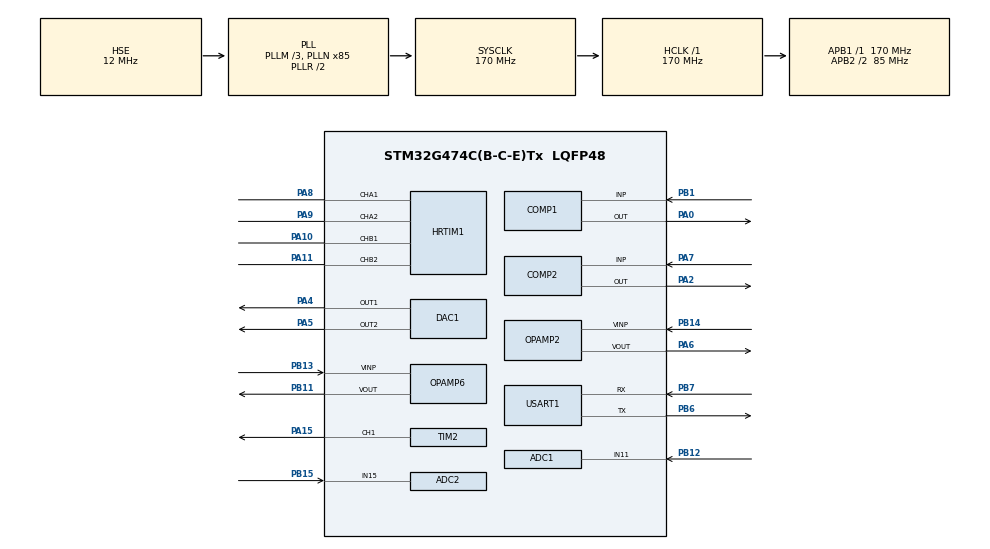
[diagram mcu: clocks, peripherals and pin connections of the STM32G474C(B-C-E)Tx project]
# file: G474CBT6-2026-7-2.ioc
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ADC1.Channel-4\#ChannelRegularConversion=ADC_CHANNEL_11
ADC1.Channel-5\#ChannelRegularConversion=ADC_CHANNEL_14
ADC1.DMAAccessModeView=ENABLE
ADC1.DMAContinuousRequests=ENABLE
ADC1.DiscontinuousConvMode=ENABLE
ADC1.ExternalTrigConv=ADC_EXTERNALTRIG_HRTIM_TRG1
ADC1.ExternalTrigConvEdge=ADC_EXTERNALTRIGCONVEDGE_RISING
ADC1.Mode=ADC_DUALMODE_REGSIMULT
ADC1.NbrOfConversion=2
ADC1.NbrOfConversionFlag=1
ADC1.NbrOfDiscConversion=2
ADC1.OffsetNumber-4\#ChannelRegularConversion=ADC_OFFSET_NONE
ADC1.OffsetNumber-5\#ChannelRegularConversion=ADC_OFFSET_NONE
ADC1.Overrun=ADC_OVR_DATA_OVERWRITTEN
ADC1.Rank-4\#ChannelRegularConversion=1
ADC1.Rank-5\#ChannelRegularConversion=2
ADC1.SamplingTime-4\#ChannelRegularConversion=ADC_SAMPLETIME_12CYCLES_5
ADC1.SamplingTime-5\#ChannelRegularConversion=ADC_SAMPLETIME_12CYCLES_5
ADC1.master=1
ADC2.Channel-5\#ChannelRegularConversion=ADC_CHANNEL_15
ADC2.Channel-6\#ChannelRegularConversion=ADC_CHANNEL_3
ADC2.DMAAccessModeView=ENABLE
ADC2.DiscontinuousConvMode=ENABLE
ADC2.Mode=ADC_DUALMODE_REGSIMULT
ADC2.NbrOfConversion=2
ADC2.NbrOfConversionFlag=1
ADC2.NbrOfDiscConversion=3
ADC2.OffsetNumber-5\#ChannelRegularConversion=ADC_OFFSET_NONE
ADC2.OffsetNumber-6\#ChannelRegularConversion=ADC_OFFSET_NONE
ADC2.Overrun=ADC_OVR_DATA_OVERWRITTEN
ADC2.Rank-5\#ChannelRegularConversion=1
ADC2.Rank-6\#ChannelRegularConversion=2
ADC2.SamplingTime-5\#ChannelRegularConversion=ADC_SAMPLETIME_12CYCLES_5
ADC2.SamplingTime-6\#ChannelRegularConversion=ADC_SAMPLETIME_12CYCLES_5
DAC1.DAC_Channel-DAC_OUT2_ExtAndInt=DAC_CHANNEL_2
DAC1.DAC_DMADoubleDataMode-DAC_OUT1_ExtAndInt=ENABLE
DAC1.DAC_DMADoubleDataMode-DAC_OUT2_ExtAndInt=ENABLE
DAC1.DAC_HighFrequency_OUT1-DAC_OUT1_ExtAndInt=DAC_HIGH_FREQUENCY_INTERFACE_MODE_ABOVE_160MHZ
DAC1.DAC_SignedFormat-DAC_OUT1_ExtAndInt=DISABLE
DAC1.DAC_SignedFormat-DAC_OUT2_ExtAndInt=ENABLE
DAC1.DAC_Trigger2_OUT1-DAC_OUT1_ExtAndInt=DAC_TRIGGER_HRTIM_STEP_TRG1
DAC1.DAC_Trigger2_OUT2-DAC_OUT2_ExtAndInt=DAC_TRIGGER_HRTIM_STEP_TRG2
DAC1.DAC_Trigger_OUT1-DAC_OUT1_ExtAndInt=DAC_TRIGGER_HRTIM_RST_TRG1
DAC1.DAC_Trigger_OUT2-DAC_OUT2_ExtAndInt=DAC_TRIGGER_HRTIM_RST_TRG2
DAC1.DAC_UserTrimming-DAC_OUT1_ExtAndInt=DAC_TRIMMING_FACTORY
DAC1.ResetDataSawtooth-DAC_OUT1_ExtAndInt=3000
DAC1.ResetDataSawtooth2-DAC_OUT2_ExtAndInt=3000
DAC1.StepDataSawtooth-DAC_OUT1_ExtAndInt=1000
DAC1.StepDataSawtooth2-DAC_OUT2_ExtAndInt=1000
DAC1.WaveGeneration_OUT1-DAC_OUT1_ExtAndInt=SawtoothWaveGenerate
DAC1.WaveGeneration_OUT2-DAC_OUT2_ExtAndInt=SawtoothWaveGenerate
Dma.ADC1.2.Direction=DMA_PERIPH_TO_MEMORY
Dma.ADC1.2.EventEnable=DISABLE
Dma.ADC1.2.Instance=DMA1_Channel1
Dma.ADC1.2.MemDataAlignment=DMA_MDATAALIGN_WORD
Dma.ADC1.2.MemInc=DMA_MINC_ENABLE
Dma.ADC1.2.Mode=DMA_CIRCULAR
Dma.ADC1.2.PeriphDataAlignment=DMA_PDATAALIGN_WORD
Dma.ADC1.2.PeriphInc=DMA_PINC_DISABLE
Dma.ADC1.2.Polarity=HAL_DMAMUX_REQ_GEN_RISING
Dma.ADC1.2.Priority=DMA_PRIORITY_LOW
Dma.ADC1.2.RequestNumber=1
Dma.ADC1.2.SignalID=NONE
Dma.ADC1.2.SyncEnable=DISABLE
Dma.ADC1.2.SyncPolarity=HAL_DMAMUX_SYNC_NO_EVENT
Dma.ADC1.2.SyncRequestNumber=1
Dma.ADC1.2.SyncSignalID=NONE
Dma.Request0=USART1_TX
Dma.Request1=TIM3_UP
Dma.Request2=ADC1
Dma.Request3=TIM2_UP
Dma.TIM2_UP.3.Direction=DMA_PERIPH_TO_MEMORY
Dma.TIM2_UP.3.EventEnable=DISABLE
Dma.TIM2_UP.3.Instance=DMA1_Channel3
Dma.TIM2_UP.3.MemDataAlignment=DMA_MDATAALIGN_HALFWORD
Dma.TIM2_UP.3.MemInc=DMA_MINC_ENABLE
Dma.TIM2_UP.3.Mode=DMA_CIRCULAR
Dma.TIM2_UP.3.PeriphDataAlignment=DMA_PDATAALIGN_HALFWORD
Dma.TIM2_UP.3.PeriphInc=DMA_PINC_DISABLE
Dma.TIM2_UP.3.Polarity=HAL_DMAMUX_REQ_GEN_RISING
Dma.TIM2_UP.3.Priority=DMA_PRIORITY_LOW
Dma.TIM2_UP.3.RequestNumber=1
Dma.TIM2_UP.3.SignalID=NONE
Dma.TIM2_UP.3.SyncEnable=DISABLE
Dma.TIM2_UP.3.SyncPolarity=HAL_DMAMUX_SYNC_NO_EVENT
Dma.TIM2_UP.3.SyncRequestNumber=1
Dma.TIM2_UP.3.SyncSignalID=NONE
Dma.TIM3_UP.1.Direction=DMA_MEMORY_TO_PERIPH
Dma.TIM3_UP.1.EventEnable=DISABLE
Dma.TIM3_UP.1.Instance=DMA1_Channel4
Dma.TIM3_UP.1.MemDataAlignment=DMA_MDATAALIGN_HALFWORD
Dma.TIM3_UP.1.MemInc=DMA_MINC_ENABLE
Dma.TIM3_UP.1.Mode=DMA_CIRCULAR
Dma.TIM3_UP.1.PeriphDataAlignment=DMA_PDATAALIGN_HALFWORD
Dma.TIM3_UP.1.PeriphInc=DMA_PINC_DISABLE
Dma.TIM3_UP.1.Polarity=HAL_DMAMUX_REQ_GEN_RISING
Dma.TIM3_UP.1.Priority=DMA_PRIORITY_LOW
Dma.TIM3_UP.1.RequestNumber=1
Dma.TIM3_UP.1.SignalID=NONE
Dma.TIM3_UP.1.SyncEnable=DISABLE
Dma.TIM3_UP.1.SyncPolarity=HAL_DMAMUX_SYNC_NO_EVENT
Dma.TIM3_UP.1.SyncRequestNumber=1
Dma.TIM3_UP.1.SyncSignalID=NONE
Dma.USART1_TX.0.Direction=DMA_MEMORY_TO_PERIPH
Dma.USART1_TX.0.EventEnable=DISABLE
Dma.USART1_TX.0.Instance=DMA1_Channel2
Dma.USART1_TX.0.MemDataAlignment=DMA_MDATAALIGN_BYTE
Dma.USART1_TX.0.MemInc=DMA_MINC_ENABLE
Dma.USART1_TX.0.Mode=DMA_CIRCULAR
Dma.USART1_TX.0.PeriphDataAlignment=DMA_PDATAALIGN_BYTE
Dma.USART1_TX.0.PeriphInc=DMA_PINC_DISABLE
Dma.USART1_TX.0.Polarity=HAL_DMAMUX_REQ_GEN_RISING
Dma.USART1_TX.0.Priority=DMA_PRIORITY_LOW
Dma.USART1_TX.0.RequestNumber=1
Dma.USART1_TX.0.SignalID=NONE
Dma.USART1_TX.0.SyncEnable=DISABLE
Dma.USART1_TX.0.SyncPolarity=HAL_DMAMUX_SYNC_NO_EVENT
Dma.USART1_TX.0.SyncRequestNumber=1
Dma.USART1_TX.0.SyncSignalID=NONE
HRTIM1.ADCTrigger1_Source1=HRTIM_ADCTRIGGEREVENT13_TIMERA_CMP3
HRTIM1.ADCTrigger_Id1=HRTIM_ADCTRIGGER_1
HRTIM1.ADCTrigger_Id2=__NULL
HRTIM1.CompareUnit1-MasterTimer=HRTIM_COMPAREUNIT_1
HRTIM1.CompareUnit1-Output_TA1TA2=HRTIM_COMPAREUNIT_1
HRTIM1.CompareUnit1-Output_TB1TB2=HRTIM_COMPAREUNIT_1
HRTIM1.CompareUnit2-MasterTimer=__NULL
HRTIM1.CompareUnit2-Output_TA1TA2=HRTIM_COMPAREUNIT_2
HRTIM1.CompareUnit2-Output_TB1TB2=HRTIM_COMPAREUNIT_2
HRTIM1.CompareUnit3-Output_TA1TA2=HRTIM_COMPAREUNIT_3
HRTIM1.CompareUnit3-Output_TB1TB2=HRTIM_COMPAREUNIT_3
HRTIM1.CompareUnit4-Output_TA1TA2=HRTIM_COMPAREUNIT_4
HRTIM1.CompareUnit4-Output_TB1TB2=HRTIM_COMPAREUNIT_4
HRTIM1.CompareValue1-MasterTimer=13600
HRTIM1.CompareValue1-Output_TA1TA2=24480
HRTIM1.CompareValue1-Output_TB1TB2=10000
HRTIM1.CompareValue2-Output_TA1TA2=1000
HRTIM1.CompareValue2-Output_TB1TB2=1000
HRTIM1.CompareValue3-Output_TA1TA2=2720
HRTIM1.CompareValue3-Output_TB1TB2=2800
HRTIM1.CompareValue4-Output_TA1TA2=1088
HRTIM1.CompareValue4-Output_TB1TB2=1088
HRTIM1.DeadTimeInsertion-Output_TA1TA2=HRTIM_TIMDEADTIMEINSERTION_ENABLED
HRTIM1.DeadTimeInsertion-Output_TB1TB2=HRTIM_TIMDEADTIMEINSERTION_ENABLED
HRTIM1.Deadtimeconfig-Output_TA1TA2=HRTIM_TIMERINDEX_TIMER_A
HRTIM1.Deadtimeconfig-Output_TB1TB2=HRTIM_TIMERINDEX_TIMER_B
HRTIM1.DualChannelDacEnableFake_TA-Output_TA1TA2=HRTIM_TIMER_DCDE_ENABLED_FAKE1
HRTIM1.DualChannelDacEnableFake_TB-Output_TB1TB2=HRTIM_TIMER_DCDE_ENABLED_FAKE1
HRTIM1.Event1-Output_TA1TA2=__NULL
HRTIM1.Event4-Output_TA1TA2=HRTIM_EVENT_4
HRTIM1.Event4-Output_TB1TB2=HRTIM_EVENT_4
HRTIM1.Event_EEV1=HRTIM_EVENT_1
HRTIM1.Event_EEV2=__NULL
HRTIM1.Event_EEV3=__NULL
HRTIM1.Event_EEV4=HRTIM_EVENT_4
HRTIM1.FallingValue-Output_TA1TA2=100
HRTIM1.FallingValue-Output_TB1TB2=100
HRTIM1.FaultLevel1-Output_TA1TA2=HRTIM_OUTPUTFAULTLEVEL_INACTIVE
HRTIM1.Filter4-Output_TA1TA2=HRTIM_TIMEEVFLT_BLANKINGCMP3
HRTIM1.Filter4-Output_TB1TB2=HRTIM_TIMEEVFLT_BLANKINGCMP3
HRTIM1.ModeTimeBase-MasterTimer=HRTIM_MODE_CONTINUOUS
HRTIM1.ModeTimeBase-Output_TA1TA2=HRTIM_MODE_SINGLESHOT
HRTIM1.ModeTimeBase-Output_TB1TB2=HRTIM_MODE_SINGLESHOT
HRTIM1.NumberADCTriggerSource1=1
HRTIM1.NumberInterruptRequests-Output_TA1TA2=0
HRTIM1.NumberInterruptRequests-Output_TB1TB2=0
HRTIM1.NumberInterruptRequests_Master-MasterTimer=0
HRTIM1.NumberResetSource1-Output_TA1TA2=2
HRTIM1.NumberResetSource1-Output_TB1TB2=1
HRTIM1.NumberResetTrigger-Output_TA1TA2=1
HRTIM1.NumberResetTrigger-Output_TB1TB2=1
HRTIM1.NumberSetSource1-Output_TA1TA2=1
HRTIM1.NumberSetSource1-Output_TB1TB2=2
HRTIM1.ORingUpdateSource_ADCTrigger1=HRTIM_ADCTRIGGERUPDATE_TIMER_A
HRTIM1.Periode_MASTER=27200
HRTIM1.Periode_TA=27200
HRTIM1.Periode_TB=27200
HRTIM1.Polarity1-Output_TB1TB2=HRTIM_OUTPUTPOLARITY_HIGH
HRTIM1.PreloadEnable-Output_TA1TA2=HRTIM_PRELOAD_ENABLED
HRTIM1.PreloadEnable-Output_TB1TB2=HRTIM_PRELOAD_ENABLED
HRTIM1.PrescalerRatio_MASTER=HRTIM_PRESCALERRATIO_MUL32
HRTIM1.RepetitionUpdate-Output_TA1TA2=HRTIM_UPDATEONREPETITION_ENABLED
HRTIM1.RepetitionUpdate-Output_TB1TB2=HRTIM_UPDATEONREPETITION_ENABLED
HRTIM1.ResetOutput1_Source1-Output_TA1TA2=HRTIM_OUTPUTRESET_TIMCMP1
HRTIM1.ResetOutput1_Source1-Output_TB1TB2=HRTIM_OUTPUTRESET_TIMCMP4
HRTIM1.ResetOutput1_Source2-Output_TA1TA2=HRTIM_OUTPUTSET_EEV_4
HRTIM1.ResetTrigger1-Output_TA1TA2=HRTIM_TIMRESETTRIGGER_MASTER_PER
HRTIM1.ResetTrigger1-Output_TB1TB2=HRTIM_TIMRESETTRIGGER_MASTER_CMP1
HRTIM1.RisingValue-Output_TA1TA2=100
HRTIM1.RisingValue-Output_TB1TB2=100
HRTIM1.SetOutput1_Source1-Output_TA1TA2=HRTIM_OUTPUTSET_TIMCMP4
HRTIM1.SetOutput1_Source1-Output_TB1TB2=HRTIM_OUTPUTSET_TIMCMP1
HRTIM1.SetOutput1_Source2-Output_TB1TB2=HRTIM_OUTPUTSET_EEV_1
Mcu.Family=STM32G4
Mcu.Name=STM32G474C(B-C-E)Tx
Mcu.Package=LQFP48
NVIC.DMA1_Channel1_IRQn=true\:0\:0\:false\:false\:true\:false\:true\:true
NVIC.DMA1_Channel2_IRQn=true\:0\:0\:false\:false\:true\:false\:true\:true
NVIC.DMA1_Channel3_IRQn=true\:0\:0\:false\:false\:true\:false\:true\:true
NVIC.DMA1_Channel4_IRQn=true\:0\:0\:false\:false\:true\:false\:true\:true
NVIC.HRTIM1_Master_IRQn=true\:0\:0\:false\:false\:true\:true\:true\:true
NVIC.PriorityGroup=NVIC_PRIORITYGROUP_4
PA0.Mode=ExternalOutput
PA0.Signal=COMP1_OUT
PA10.Mode=Output_TB1TB2
PA10.Signal=HRTIM1_CHB1
PA11.Mode=Output_TB1TB2
PA11.Signal=HRTIM1_CHB2
PA13.Mode=Serial_Wire
PA13.Signal=SYS_JTMS-SWDIO
PA14.Mode=Serial_Wire
PA14.Signal=SYS_JTCK-SWCLK
PA15.Signal=S_TIM2_CH1
PA2.Mode=ExternalOutput
PA2.Signal=COMP2_OUT
PA4.Signal=COMP_DAC11_group
PA5.Signal=COMP_DAC12_group
PA6.Signal=SharedAnalog_PA6
PA7.Mode=INP
PA7.Signal=COMP2_INP
PA8.Mode=Output_TA1TA2
PA8.Signal=HRTIM1_CHA1
PA9.Mode=Output_TA1TA2
PA9.Signal=HRTIM1_CHA2
PB1.Mode=INP
PB1.Signal=COMP1_INP
PB11.Signal=SharedAnalog_PB11
PB12.Mode=IN11-Single-Ended
PB12.Signal=ADC1_IN11
PB13.Mode=Follower
PB13.Signal=OPAMP6_VINP
PB14.Mode=Follower
PB14.Signal=OPAMP2_VINP
PB15.Mode=IN15-Single-Ended
PB15.Signal=ADC2_IN15
PB6.Mode=Asynchronous
PB6.Signal=USART1_TX
PB7.Mode=Asynchronous
PB7.Signal=USART1_RX
PF0-OSC_IN.Mode=HSE-External-Oscillator
PF0-OSC_IN.Signal=RCC_OSC_IN
PF1-OSC_OUT.Mode=HSE-External-Oscillator
PF1-OSC_OUT.Signal=RCC_OSC_OUT
ProjectManager.HeapSize=0x200
ProjectManager.StackSize=0x400
ProjectManager.TargetToolchain=CMake
RCC.ADC12Freq_Value=170000000
RCC.ADC345Freq_Value=170000000
RCC.AHBFreq_Value=170000000
RCC.APB1Freq_Value=170000000
RCC.APB1TimFreq_Value=170000000
RCC.APB2CLKDivider=RCC_HCLK_DIV2
RCC.APB2Freq_Value=85000000
RCC.APB2TimFreq_Value=170000000
RCC.CortexFreq_Value=170000000
RCC.EXTERNAL_CLOCK_VALUE=12288000
RCC.HCLKFreq_Value=170000000
RCC.HSE_VALUE=12000000
RCC.HSI48_VALUE=48000000
RCC.HSI_VALUE=16000000
RCC.LSE_VALUE=32768
RCC.PLLM=RCC_PLLM_DIV3
RCC.PLLN=85
RCC.PLLSourceVirtual=RCC_PLLSOURCE_HSE
RCC.SYSCLKFreq_VALUE=170000000
RCC.SYSCLKSource=RCC_SYSCLKSOURCE_PLLCLK
RCC.USBFreq_Value=170000000
RCC.VCOOutputFreq_Value=340000000
RCC.VDD_VALUE=3.3
SH.COMP_DAC11_group.0=DAC1_OUT1,DAC_OUT1_ExtAndInt
SH.COMP_DAC12_group.0=DAC1_OUT2,DAC_OUT2_ExtAndInt
SH.S_TIM2_CH1.0=TIM2_CH1,PWM Generation1 CH1
SH.SharedAnalog_PA6.0=OPAMP2_VOUT,Follower
SH.SharedAnalog_PA6.1=ADC2_IN3,IN3-Single-Ended
SH.SharedAnalog_PB11.0=OPAMP6_VOUT,Follower
SH.SharedAnalog_PB11.1=ADC1_IN14,IN14-Single-Ended
TIM2.AutoReloadPreload=TIM_AUTORELOAD_PRELOAD_ENABLE
TIM2.Channel-PWM\ Generation1\ CH1=TIM_CHANNEL_1
TIM2.PeriodNoDither=211
TIM3.AutoReloadPreload=TIM_AUTORELOAD_PRELOAD_ENABLE
TIM3.PeriodNoDither=211
TIM3.Prescaler=0
USART1.VirtualMode-Asynchronous=VM_ASYNC
VP_COMP1_VS_DAC1OUT1.Mode=INM_DAC1OUT1
VP_COMP2_VS_DAC1OUT2.Mode=INM_DAC1OUT2
VP_HRTIM1_VS_hrtimMasterTimerNoOutput.Mode=MasterTimer
VP_SYS_VS_DBSignals.Mode=DisableDeadBatterySignals
VP_SYS_V_VREFBUF.Mode=ExternalMode
VP_TIM2_VS_ClockSourceINT.Mode=Internal
VP_TIM3_VS_ClockSourceINT.Mode=Internal
board=custom

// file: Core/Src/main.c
/* USER CODE BEGIN Header */
/**
  ******************************************************************************
  * @file           : main.c
  * @brief          : Main program body
  ******************************************************************************
  * @attention
  *
  * Copyright (c) 2026 STMicroelectronics.
  * All rights reserved.
  *
  * This software is licensed under terms that can be found in the LICENSE file
  * in the root directory of this software component.
  * If no LICENSE file comes with this software, it is provided AS-IS.
  *
  ******************************************************************************
  */
/* USER CODE END Header */
#include "main.h"
#include "adc.h"
#include "comp.h"
#include "dac.h"
#include "dma.h"
#include "hrtim.h"
#include "opamp.h"
#include "tim.h"
#include "usart.h"
#include "gpio.h"

/* USER CODE BEGIN Includes */
#include "BSP_DWT.h"
#include "task.h"
#include "ws2812.h"
#include "loop.h"
/* USER CODE END Includes */

/* USER CODE BEGIN PTD */
extern ADC_DATA adc_data;
extern PI_Controller PI_Volt_Controller;
extern PI_Controller PI_Current_Controller;
extern PI_Controller PI_Power_Controller;
extern Loop_variable loop_var;
extern Compensator3P3Z_t comp_v;

float32_t coeffs[7] = {1.8775f,
                 -1.6347f,
                 -1.8696f,
                  1.6426f,
                  0.3846f,
                  0.8651f,
                  -0.2497f};

/*1.877527731117700,-1.634773018090841,-1.869622267369044,1.642678481839497
 * -0.384646750045365,-0.865111047122015,0.249757797167381
 */

/* USER CODE END PTD */

/* USER CODE BEGIN PD */
volatile float V_target = 28.0f;
volatile float I_BAT_target = 5.0f;
volatile float P_BAT_target = 60.0f;
volatile float I_BAT_ref = 0.0f;
volatile float I_target = 0.0f;
uint8_t tick = 0;
/* USER CODE END PD */

/* USER CODE BEGIN PV */

/*test private begin*/

/*test private end*/

/* USER CODE END PV */

void SystemClock_Config(void);

int main(void)
{

  /* MCU Configuration--------------------------------------------------------*/

  /* Reset of all peripherals, Initializes the Flash interface and the Systick. */
  HAL_Init();

  /* Configure the system clock */
  SystemClock_Config();

  /* Initialize all configured peripherals */
  MX_GPIO_Init();
  MX_DMA_Init();
  MX_HRTIM1_Init();
  MX_TIM2_Init();
  MX_USART1_UART_Init();
  MX_TIM3_Init();
  MX_ADC1_Init();
  MX_ADC2_Init();
  MX_OPAMP2_Init();
  MX_OPAMP6_Init();
  MX_COMP1_Init();
  MX_DAC1_Init();
  MX_COMP2_Init();
  /* USER CODE BEGIN 2 */

  PI_Controller_Init(&PI_Volt_Controller,0.05f,0.0005f);
  PI_Controller_Init(&PI_Current_Controller,0.02f,0.0055f);
  PI_Controller_Init(&PI_Power_Controller,0.01f,0.0055f);

  PI_Volt_Controller.output_min = 0.0f;
  PI_Volt_Controller.output_max = CHARGE_PEAK_CURRENT_MAX_A;
  PI_Current_Controller.output_min = -DISCHARGE_VALLEY_MAX_A;
  PI_Current_Controller.output_max = CHARGE_PEAK_CURRENT_MAX_A;
  PI_Power_Controller.output_min = 0.0f;
  PI_Power_Controller.output_max = loop_var.I_BAT_target;

  DWT_Init(170);
  DAC_Init();
  HAL_COMP_Start(&hcomp1);
  HAL_COMP_Start(&hcomp2);
  ADC_Init();
  // WS2812_Init();
  TIM_Init();

  /* USER CODE END 2 */

  /* Infinite loop */
  while (1)
  {

  }
}

void SystemClock_Config(void)
{
  RCC_OscInitTypeDef RCC_OscInitStruct = {0};
  RCC_ClkInitTypeDef RCC_ClkInitStruct = {0};

  /** Configure the main internal regulator output voltage
  */
  HAL_PWREx_ControlVoltageScaling(PWR_REGULATOR_VOLTAGE_SCALE1_BOOST);

  /** Initializes the RCC Oscillators according to the specified parameters
  * in the RCC_OscInitTypeDef structure.
  */
  RCC_OscInitStruct.OscillatorType = RCC_OSCILLATORTYPE_HSE;
  RCC_OscInitStruct.HSEState = RCC_HSE_ON;
  RCC_OscInitStruct.PLL.PLLState = RCC_PLL_ON;
  RCC_OscInitStruct.PLL.PLLSource = RCC_PLLSOURCE_HSE;
  RCC_OscInitStruct.PLL.PLLM = RCC_PLLM_DIV3;
  RCC_OscInitStruct.PLL.PLLN = 85;
  RCC_OscInitStruct.PLL.PLLP = RCC_PLLP_DIV2;
  RCC_OscInitStruct.PLL.PLLQ = RCC_PLLQ_DIV2;
  RCC_OscInitStruct.PLL.PLLR = RCC_PLLR_DIV2;
  if (HAL_RCC_OscConfig(&RCC_OscInitStruct) != HAL_OK)
  {
    Error_Handler();
  }

  /** Initializes the CPU, AHB and APB buses clocks
  */
  RCC_ClkInitStruct.ClockType = RCC_CLOCKTYPE_HCLK|RCC_CLOCKTYPE_SYSCLK
                              |RCC_CLOCKTYPE_PCLK1|RCC_CLOCKTYPE_PCLK2;
  RCC_ClkInitStruct.SYSCLKSource = RCC_SYSCLKSOURCE_PLLCLK;
  RCC_ClkInitStruct.AHBCLKDivider = RCC_SYSCLK_DIV1;
  RCC_ClkInitStruct.APB1CLKDivider = RCC_HCLK_DIV1;
  RCC_ClkInitStruct.APB2CLKDivider = RCC_HCLK_DIV2;

  if (HAL_RCC_ClockConfig(&RCC_ClkInitStruct, FLASH_LATENCY_4) != HAL_OK)
  {
    Error_Handler();
  }
}

/* USER CODE BEGIN 4 */
void HAL_HRTIM_RepetitionEventCallback(HRTIM_HandleTypeDef *hhrtim,uint32_t TimerIdx) {
  if (TimerIdx == HRTIM_TIMERINDEX_MASTER) {

    ADC_Convert();//200khz

  }

}

/* USER CODE END 4 */

void Error_Handler(void)
{
  __disable_irq();
  while (1)
  {
  }
}
